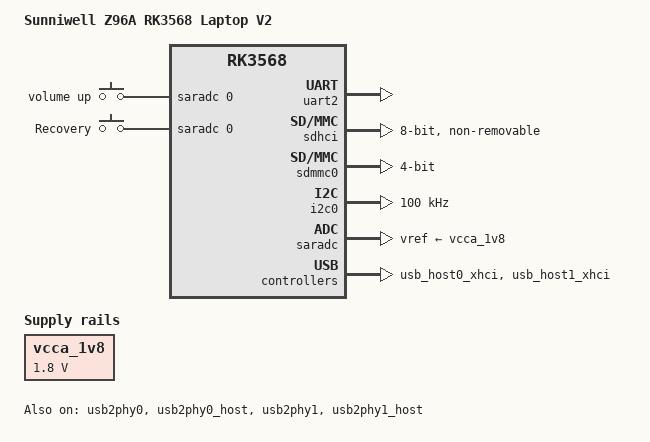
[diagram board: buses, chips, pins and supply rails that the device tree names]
// SPDX-License-Identifier: (GPL-2.0+ OR MIT)
/*
 * Sunniwell Z96A RK3568 Laptop V2 — U-Boot DT
 * V2: RK809 + HUSB311 + CN3705
 * Recovery/download key = SARADC (adc-keys), NOT a plain GPIO.
 * Factory U-Boot had adc-keys on saradc ch0 (volume up / recovery).
 * rockchip_dnl_key_pressed() samples saradc ch1 (0..30 = pressed).
 */

/dts-v1/;

#include <dt-bindings/gpio/gpio.h>
#include <dt-bindings/input/input.h>
#include <dt-bindings/pinctrl/rockchip.h>
#include "rk3568.dtsi"

/ {
	model = "Sunniwell Z96A RK3568 Laptop V2";
	compatible = "sunniwell,z96a-rk3568-laptop-v2", "rockchip,rk3568";

	aliases {
		mmc0 = &sdhci;
		mmc1 = &sdmmc0;
		serial2 = &uart2;
		i2c0 = &i2c0;
	};

	chosen {
		stdout-path = "serial2:1500000n8";
	};

	/*
	 * SARADC VREF must be present or probe fails with:
	 *   can't get vref-supply: -2
	 *   rockchip_dnl_key_pressed: adc_channel_single_shot fail!
	 * Use a fixed 1.8V rail (same as other RK3568 boards' vcca_1v8).
	 * Keep always-on/boot-on; do not require full RK809 tree in U-Boot.
	 */
	vcca_1v8: regulator-vcca-1v8 {
		compatible = "regulator-fixed";
		regulator-name = "vcca_1v8";
		regulator-always-on;
		regulator-boot-on;
		regulator-min-microvolt = <1800000>;
		regulator-max-microvolt = <1800000>;
	};

	/* Z96A volume-up key (also Recovery on case silkscreen).
	 * Wiring VERIFIED on real hardware 2026-09: SARADC ch0.
	 * The factory Android DTB (boot-0.dts) declares ch2, but the
	 * factory Linux/loader DTB (factory.dts) and the live board both
	 * say ch0: pressing the key pulls ch0 from 1023 (1.8 V, idle)
	 * down to raw 127 (~0.22 V); ch2 stays at 1023 the whole time.
	 * rockchip adc-keys driver supports -min/-max variants of both
	 * thresholds; we ship the measured band with margin:
	 *   idle (keyup): 1023 raw = 1.8 V  -> keyup 1.6..2.0 V
	 *   pressed:      127 raw = 0.223 V -> press  0.17..0.30 V
	 */
	adc-keys {
		compatible = "adc-keys";
		io-channels = <&saradc 0>;
		io-channel-names = "buttons";
		keyup-threshold-microvolt-min = <1600000>;
		keyup-threshold-microvolt-max = <2000000>;
		status = "okay";
		bootph-all;

		/* Measured: pressing pulls ch0 to ~0.223 V (raw 127) */
		vol-up-key {
			label = "volume up";
			linux,code = <KEY_VOLUMEUP>;
			press-threshold-microvolt-min = <170000>;
			press-threshold-microvolt-max = <300000>;
			bootph-all;
		};

		/*
		 * Same electrical key, often silkscreened Recovery on the
		 * case.  Keep a recovery-named node for clarity (same ch0
		 * thresholds).
		 */
		button-recovery {
			label = "Recovery";
			linux,code = <KEY_VENDOR>;
			press-threshold-microvolt-min = <170000>;
			press-threshold-microvolt-max = <300000>;
			bootph-all;
		};
	};
};

&uart2 {
	pinctrl-0 = <&uart2m0_xfer>;
	status = "okay";
};

&sdhci {
	bus-width = <8>;
	cap-mmc-highspeed;
	mmc-hs200-1_8v;
	non-removable;
	status = "okay";
};

&sdmmc0 {
	bus-width = <4>;
	cap-sd-highspeed;
	disable-wp;
	status = "okay";
};

/* V2: RK809 + HUSB311 on I2C0 */
&i2c0 {
	status = "okay";
	clock-frequency = <100000>;
};

&saradc {
	vref-supply = <&vcca_1v8>;
	status = "okay";
	bootph-all;
};

&usb_host0_xhci {
	status = "okay";
};

&usb_host1_xhci {
	status = "okay";
};

&usb2phy0 {
	status = "okay";
};

&usb2phy0_host {
	status = "okay";
};

&usb2phy1 {
	status = "okay";
};

&usb2phy1_host {
	status = "okay";
};
